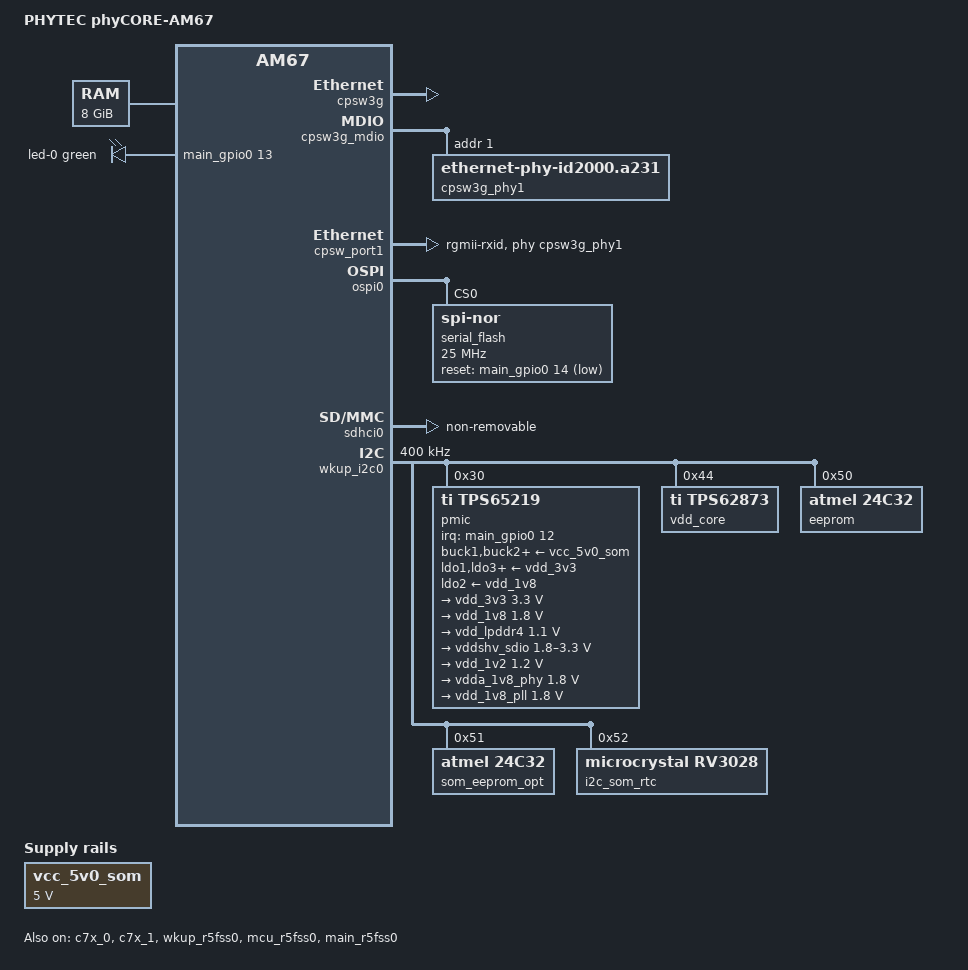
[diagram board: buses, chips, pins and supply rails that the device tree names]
// SPDX-License-Identifier: GPL-2.0-only OR MIT
/*
 * Copyright (C) 2025 PHYTEC America LLC
 * Author: Nathan Morrisson <nmorrisson@phytec.com>
 */

#include <dt-bindings/net/ti-dp83867.h>
#include <dt-bindings/leds/common.h>
#include <dt-bindings/phy/phy.h>
#include "k3-serdes.h"

/ {
	compatible = "phytec,am67-phycore-som", "ti,j722s";
	model = "PHYTEC phyCORE-AM67";

	aliases {
		ethernet0 = &cpsw_port1;
		gpio0 = &main_gpio0;
		mmc0 = &sdhci0;
		rtc0 = &i2c_som_rtc;
		rtc1 = &wkup_rtc0;
		spi0 = &ospi0;
	};

	memory@80000000 {
		/* 8G RAM */
		reg = <0x00000000 0x80000000 0x00000000 0x80000000>,
		      <0x00000008 0x80000000 0x00000001 0x80000000>;
		device_type = "memory";
		bootph-all;
	};

	reserved_memory: reserved-memory {
		#address-cells = <2>;
		#size-cells = <2>;
		ranges;

		linux,cma {
			compatible = "shared-dma-pool";
			reusable;
			size = <0x00 0x38000000>;
			linux,cma-default;
		};

		secure_tfa_ddr: tfa@9e780000 {
			reg = <0x00 0x9e780000 0x00 0x80000>;
			no-map;
		};

		secure_ddr: optee@9e800000 {
			reg = <0x00 0x9e800000 0x00 0x01800000>;
			no-map;
		};

		wkup_r5fss0_core0_dma_memory_region: r5f-dma-memory@a0000000 {
			compatible = "shared-dma-pool";
			reg = <0x00 0xa0000000 0x00 0x100000>;
			no-map;
		};

		wkup_r5fss0_core0_memory_region: r5f-memory@a0100000 {
			compatible = "shared-dma-pool";
			reg = <0x00 0xa0100000 0x00 0xf00000>;
			no-map;
		};

		mcu_r5fss0_core0_dma_memory_region: mcu-r5fss-dma-memory-region@a1000000 {
			compatible = "shared-dma-pool";
			reg = <0x00 0xa1000000 0x00 0x100000>;
			no-map;
		};

		mcu_r5fss0_core0_memory_region: mcu-r5fss-memory-region@a1100000 {
			compatible = "shared-dma-pool";
			reg = <0x00 0xa1100000 0x00 0xf00000>;
			no-map;
		};

		main_r5fss0_core0_dma_memory_region: main-r5fss-dma-memory-region@a2000000 {
			compatible = "shared-dma-pool";
			reg = <0x00 0xa2000000 0x00 0x100000>;
			no-map;
		};

		main_r5fss0_core0_memory_region: main-r5fss-memory-region@a2100000 {
			compatible = "shared-dma-pool";
			reg = <0x00 0xa2100000 0x00 0xf00000>;
			no-map;
		};

		c7x_0_dma_memory_region: c7x-dma-memory@a3000000 {
			compatible = "shared-dma-pool";
			reg = <0x00 0xa3000000 0x00 0x100000>;
			no-map;
		};

		c7x_0_memory_region: c7x-memory@a3100000 {
			compatible = "shared-dma-pool";
			reg = <0x00 0xa3100000 0x00 0xf00000>;
			no-map;
		};

		c7x_1_dma_memory_region: c7x-dma-memory@a4000000 {
			compatible = "shared-dma-pool";
			reg = <0x00 0xa4000000 0x00 0x100000>;
			no-map;
		};

		c7x_1_memory_region: c7x-memory@a4100000 {
			compatible = "shared-dma-pool";
			reg = <0x00 0xa4100000 0x00 0xf00000>;
			no-map;
		};

		rtos_ipc_memory_region: ipc-memories@a5000000 {
			reg = <0x00 0xa5000000 0x00 0x1c00000>;
			alignment = <0x1000>;
			no-map;
		};
	};

	vcc_5v0_som: regulator-vcc-5v0-som {
		compatible = "regulator-fixed";
		regulator-name = "VCC_5V0_SOM";
		regulator-min-microvolt = <5000000>;
		regulator-max-microvolt = <5000000>;
		regulator-always-on;
		regulator-boot-on;
	};

	leds {
		compatible = "gpio-leds";
		pinctrl-names = "default";
		pinctrl-0 = <&leds_pins_default>;

		led-0 {
			color = <LED_COLOR_ID_GREEN>;
			gpios = <&main_gpio0 13 GPIO_ACTIVE_HIGH>;
			linux,default-trigger = "heartbeat";
			function = LED_FUNCTION_HEARTBEAT;
		};
	};
};

&main_pmx0 {
	leds_pins_default: leds-default-pins {
		pinctrl-single,pins = <
			J722S_IOPAD(0x034, PIN_OUTPUT, 7) /*	(K22) OSPI0_CSN2.GPIO0_13 */
		>;
	};

	main_i2c0_pins_default: main-i2c0-default-pins {
		pinctrl-single,pins = <
			J722S_IOPAD(0x01e0, PIN_INPUT_PULLUP, 0)	/* (D23) I2C0_SCL */
			J722S_IOPAD(0x01e4, PIN_INPUT_PULLUP, 0)	/* (B22) I2C0_SDA */
		>;
		bootph-all;
	};

	mdio_pins_default: mdio-default-pins {
		pinctrl-single,pins = <
			J722S_IOPAD(0x0160, PIN_OUTPUT, 0)	/* (AC24) MDIO0_MDC */
			J722S_IOPAD(0x015c, PIN_INPUT, 0)	/* (AD25) MDIO0_MDIO */
		>;
		bootph-all;
	};

	ospi0_pins_default: ospi0-default-pins {
		pinctrl-single,pins = <
			J722S_IOPAD(0x000, PIN_OUTPUT, 0)	/* (L24) OSPI0_CLK */
			J722S_IOPAD(0x02c, PIN_OUTPUT, 0)	/* (K26) OSPI0_CSn0 */
			J722S_IOPAD(0x00c, PIN_INPUT, 0)	/* (K27) OSPI0_D0 */
			J722S_IOPAD(0x010, PIN_INPUT, 0)	/* (L27) OSPI0_D1 */
			J722S_IOPAD(0x014, PIN_INPUT, 0)	/* (L26) OSPI0_D2 */
			J722S_IOPAD(0x018, PIN_INPUT, 0)	/* (L25) OSPI0_D3 */
			J722S_IOPAD(0x01c, PIN_INPUT, 0)	/* (L21) OSPI0_D4 */
			J722S_IOPAD(0x020, PIN_INPUT, 0)	/* (M26) OSPI0_D5 */
			J722S_IOPAD(0x024, PIN_INPUT, 0)	/* (N27) OSPI0_D6 */
			J722S_IOPAD(0x028, PIN_INPUT, 0)	/* (M27) OSPI0_D7 */
			J722S_IOPAD(0x008, PIN_INPUT, 0)	/* (L22) OSPI0_DQS */
			J722S_IOPAD(0x038, PIN_INPUT, 7)	/* (J22) OSPI0_CSn3.GPIO0_14*/
		>;
		bootph-all;
	};

	pmic_irq_pins_default: pmic-irq-default-pins {
		pinctrl-single,pins = <
			J722S_IOPAD(0x030, PIN_INPUT, 7)	/* (K23) OSPI0_CSN1.GPIO0_12*/
		>;
	};

	rgmii1_pins_default: rgmii1-default-pins {
		pinctrl-single,pins = <
			J722S_IOPAD(0x014c, PIN_INPUT, 0)	/* (AC25) RGMII1_RD0 */
			J722S_IOPAD(0x0150, PIN_INPUT, 0)	/* (AD27) RGMII1_RD1 */
			J722S_IOPAD(0x0154, PIN_INPUT, 0)	/* (AE24) RGMII1_RD2 */
			J722S_IOPAD(0x0158, PIN_INPUT, 0)	/* (AE26) RGMII1_RD3 */
			J722S_IOPAD(0x0148, PIN_INPUT, 0)	/* (AE27) RGMII1_RXC */
			J722S_IOPAD(0x0144, PIN_INPUT, 0)	/* (AD23) RGMII1_RX_CTL */
			J722S_IOPAD(0x0134, PIN_OUTPUT, 0)	/* (AF27) RGMII1_TD0 */
			J722S_IOPAD(0x0138, PIN_OUTPUT, 0)	/* (AE23) RGMII1_TD1 */
			J722S_IOPAD(0x013c, PIN_OUTPUT, 0)	/* (AG25) RGMII1_TD2 */
			J722S_IOPAD(0x0140, PIN_OUTPUT, 0)	/* (AF24) RGMII1_TD3 */
			J722S_IOPAD(0x0130, PIN_OUTPUT, 0)	/* (AG26) RGMII1_TXC */
			J722S_IOPAD(0x012c, PIN_OUTPUT, 0)	/* (AF25) RGMII1_TX_CTL */
		>;
		bootph-all;
	};
};

&mcu_pmx0 {
	wkup_i2c0_pins_default: wkup-i2c0-default-pins {
		pinctrl-single,pins = <
			J722S_MCU_IOPAD(0x04c, PIN_INPUT_PULLUP, 0)	/* (B9) WKUP_I2C0_SCL */
			J722S_MCU_IOPAD(0x050, PIN_INPUT_PULLUP, 0)	/* (D11) WKUP_I2C0_SDA */
		>;
		bootph-all;
	};
};

&cpsw3g {
	pinctrl-names = "default";
	pinctrl-0 = <&rgmii1_pins_default>;
	bootph-all;
	status = "okay";
};

&cpsw3g_mdio {
	pinctrl-names = "default";
	pinctrl-0 = <&mdio_pins_default>;
	bootph-all;
	status = "okay";

	cpsw3g_phy1: ethernet-phy@1 {
		compatible = "ethernet-phy-id2000.a231", "ethernet-phy-ieee802.3-c22";
		reg = <1>;
		ti,rx-internal-delay = <DP83867_RGMIIDCTL_2_00_NS>;
		ti,fifo-depth = <DP83867_PHYCR_FIFO_DEPTH_4_B_NIB>;
		ti,min-output-impedance;
		bootph-all;
	};
};

&cpsw_port1 {
	phy-mode = "rgmii-rxid";
	phy-handle = <&cpsw3g_phy1>;
	bootph-all;
	status = "okay";
};

&cpsw_port2 {
	status = "disabled";
};

&c7x_0 {
	mboxes = <&mailbox0_cluster2 &mbox_c7x_0>;
	memory-region = <&c7x_0_dma_memory_region>,
			<&c7x_0_memory_region>;
	status = "okay";
};

&c7x_1 {
	mboxes = <&mailbox0_cluster3 &mbox_c7x_1>;
	memory-region = <&c7x_1_dma_memory_region>,
			<&c7x_1_memory_region>;
	status = "okay";
};

&mailbox0_cluster0 {
	status = "okay";

	mbox_wkup_r5_0: mbox-wkup-r5-0 {
		ti,mbox-rx = <0 0 0>;
		ti,mbox-tx = <1 0 0>;
	};
};

&mailbox0_cluster1 {
	status = "okay";

	mbox_mcu_r5_0: mbox-mcu-r5-0 {
		ti,mbox-rx = <0 0 0>;
		ti,mbox-tx = <1 0 0>;
	};
};

&mailbox0_cluster2 {
	status = "okay";

	mbox_c7x_0: mbox-c7x-0 {
		ti,mbox-rx = <0 0 0>;
		ti,mbox-tx = <1 0 0>;
	};
};

&mailbox0_cluster3 {
	status = "okay";

	mbox_main_r5_0: mbox-main-r5-0 {
		ti,mbox-rx = <0 0 0>;
		ti,mbox-tx = <1 0 0>;
	};

	mbox_c7x_1: mbox-c7x-1 {
		ti,mbox-rx = <2 0 0>;
		ti,mbox-tx = <3 0 0>;
	};
};

&main_timer0 {
	status = "reserved";
};

&main_timer1 {
	status = "reserved";
};

&main_timer2 {
	status = "reserved";
};

&wkup_r5fss0 {
	status = "okay";
};

&wkup_r5fss0_core0 {
	mboxes = <&mailbox0_cluster0 &mbox_wkup_r5_0>;
	memory-region = <&wkup_r5fss0_core0_dma_memory_region>,
			<&wkup_r5fss0_core0_memory_region>;
};

&mcu_r5fss0 {
	status = "okay";
};

&mcu_r5fss0_core0 {
	mboxes = <&mailbox0_cluster1 &mbox_mcu_r5_0>;
	memory-region = <&mcu_r5fss0_core0_dma_memory_region>,
			<&mcu_r5fss0_core0_memory_region>;
};

&main_r5fss0 {
	status = "okay";
};

&main_r5fss0_core0 {
	mboxes = <&mailbox0_cluster3 &mbox_main_r5_0>;
	memory-region = <&main_r5fss0_core0_dma_memory_region>,
			<&main_r5fss0_core0_memory_region>;
};

&ospi0 {
	pinctrl-names = "default";
	pinctrl-0 = <&ospi0_pins_default>;
	bootph-all;
	status = "okay";

	serial_flash: flash@0 {
		compatible = "jedec,spi-nor";
		reg = <0x0>;
		/*
		 * HACK: Use a reset GPIO for 1623.0 SoMs because
		 * there is a missing pullup resistor on the reset.
		 */
		reset-gpios = <&main_gpio0 14 GPIO_ACTIVE_LOW>;
		spi-tx-bus-width = <8>;
		spi-rx-bus-width = <8>;
		spi-max-frequency = <25000000>;
		cdns,tshsl-ns = <60>;
		cdns,tsd2d-ns = <60>;
		cdns,tchsh-ns = <60>;
		cdns,tslch-ns = <60>;
		cdns,read-delay = <0>;
		bootph-all;
	};
};

&sdhci0 {
	non-removable;
	bootph-all;
	ti,driver-strength-ohm = <50>;
	status = "okay";
};

&wkup_i2c0 {
	pinctrl-names = "default";
	pinctrl-0 = <&wkup_i2c0_pins_default>;
	clock-frequency = <400000>;
	bootph-all;
	status = "okay";

	pmic@30 {
		compatible = "ti,tps65219";
		reg = <0x30>;
		buck1-supply = <&vcc_5v0_som>;
		buck2-supply = <&vcc_5v0_som>;
		buck3-supply = <&vcc_5v0_som>;
		ldo1-supply = <&vdd_3v3>;
		ldo2-supply = <&vdd_1v8>;
		ldo3-supply = <&vdd_3v3>;
		ldo4-supply = <&vdd_3v3>;

		pinctrl-names = "default";
		pinctrl-0 = <&pmic_irq_pins_default>;
		interrupt-parent = <&main_gpio0>;
		interrupts = <12 IRQ_TYPE_EDGE_FALLING>;
		interrupt-controller;
		#interrupt-cells = <1>;

		system-power-controller;
		ti,power-button;

		regulators {
			vdd_3v3: buck1 {
				regulator-name = "VDD_3V3";
				regulator-min-microvolt = <3300000>;
				regulator-max-microvolt = <3300000>;
				regulator-boot-on;
				regulator-always-on;
			};

			vdd_1v8: buck2 {
				regulator-name = "VDD_1V8";
				regulator-min-microvolt = <1800000>;
				regulator-max-microvolt = <1800000>;
				regulator-boot-on;
				regulator-always-on;
			};

			vdd_lpddr4: buck3 {
				regulator-name = "VDD_LPDDR4";
				regulator-min-microvolt = <1100000>;
				regulator-max-microvolt = <1100000>;
				regulator-boot-on;
				regulator-always-on;
			};

			vddshv_sdio: ldo1 {
				regulator-name = "VDDSHV_SDIO";
				regulator-min-microvolt = <1800000>;
				regulator-max-microvolt = <3300000>;
				regulator-allow-bypass;
				regulator-boot-on;
				regulator-always-on;
			};

			vdd_1v2: ldo2 {
				regulator-name = "VDD_1V2";
				regulator-min-microvolt = <1200000>;
				regulator-max-microvolt = <1200000>;
				regulator-boot-on;
				regulator-always-on;
			};

			vdda_1v8_phy: ldo3 {
				regulator-name = "VDDA_1V8_PHY";
				regulator-min-microvolt = <1800000>;
				regulator-max-microvolt = <1800000>;
				regulator-boot-on;
				regulator-always-on;
			};

			vdd_1v8_pll: ldo4 {
				regulator-name = "VDD_1V8_PLL";
				regulator-min-microvolt = <1800000>;
				regulator-max-microvolt = <1800000>;
				regulator-boot-on;
				regulator-always-on;
			};
		};
	};

	vdd_core: regulator-vdd-core@44 {
		compatible = "ti,tps62873";
		reg = <0x44>;
		bootph-pre-ram;
		regulator-name = "VDD_CORE";
		regulator-min-microvolt = <850000>;
		regulator-max-microvolt = <850000>;
		regulator-boot-on;
		regulator-always-on;
	};

	eeprom@50 {
		compatible = "atmel,24c32";
		reg = <0x50>;
		pagesize = <32>;
	};

	som_eeprom_opt: eeprom@51 {
		compatible = "atmel,24c32";
		reg = <0x51>;
		pagesize = <32>;
	};

	i2c_som_rtc: rtc@52 {
		compatible = "microcrystal,rv3028";
		reg = <0x52>;
	};
};
